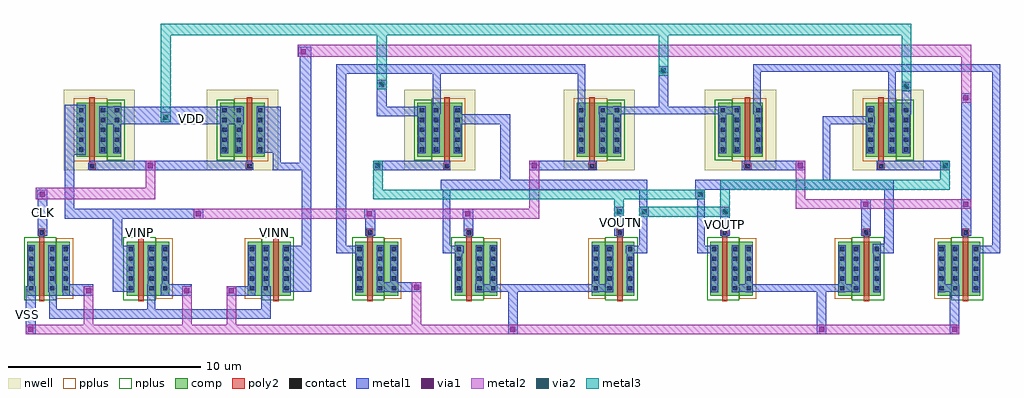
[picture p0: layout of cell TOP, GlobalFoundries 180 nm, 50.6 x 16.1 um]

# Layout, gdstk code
from math import pi, radians
import gdstk
lib = gdstk.Library(unit=1e-6, precision=5e-09)
def R(c, l, rs):  # rectangles x0, y0, x1, y1
    for r in rs: c.add(gdstk.rectangle(r[:2], r[2:], *l))
def A(c, l, x, y, w, h, nx, ny, dx, dy):  # array of equal rectangles
    R(c, l, [(x+i*dx, y+j*dy, x+i*dx+w, y+j*dy+h) for i in range(nx) for j in range(ny)])
nwell = (21, 0)
comp = (22, 0)
poly2 = (30, 0)
pplus = (31, 0)
nplus = (32, 0)
contact = (33, 0)
metal1 = (34, 0)
via1 = (35, 0)
metal2 = (36, 0)
via2 = (38, 0)
metal3 = (42, 0)

pfet = lib.new_cell('pfet')
R(pfet, nwell, [(-1.15,-0.69,2.54,3.49)])
R(pfet, comp, [(-0.46,0,0,2.8), (0,0,0.66,2.8), (0.66,0,1.12,2.8), (1.12,0,1.85,2.8)])
R(pfet, poly2, [(0.19,-0.3,0.47,3.1), (0.14,3.1,0.52,3.48)])
R(pfet, pplus, [(-0.63,-0.24,1.12,3.04)])
R(pfet, nplus, [(1.12,-0.17,2.02,2.97)])
A(pfet, contact, -0.34, 0.27, 0.22, 0.22, 1, 5, 0, 0.51)
A(pfet, contact, 0.78, 0.27, 0.22, 0.22, 1, 5, 0, 0.51)
A(pfet, contact, 1.51, 0.27, 0.22, 0.22, 1, 5, 0, 0.51)
R(pfet, contact, [(0.22,3.18,0.44,3.4)])
R(pfet, metal1, [(-0.42,0.19,-0.04,2.61), (0.7,0.19,1.08,2.61), (1.43,0.19,1.81,2.61), (0.14,3.1,0.52,3.48)])

nfet_1 = lib.new_cell('nfet$1')
R(nfet_1, comp, [(-0.42,0,0,2.8), (0,0,0.66,2.8), (0.66,0,1.08,2.8), (1.08,0,1.79,2.8)])
R(nfet_1, poly2, [(0.19,-0.3,0.47,3.1), (0.15,3.1,0.51,3.46)])
R(nfet_1, pplus, [(1.08,-0.17,1.96,2.97)])
R(nfet_1, nplus, [(-0.59,-0.24,1.08,3.04)])
A(nfet_1, contact, -0.32, 0.27, 0.22, 0.22, 1, 5, 0, 0.51)
A(nfet_1, contact, 0.76, 0.27, 0.22, 0.22, 1, 5, 0, 0.51)
A(nfet_1, contact, 1.47, 0.27, 0.22, 0.22, 1, 5, 0, 0.51)
R(nfet_1, contact, [(0.22,3.17,0.44,3.39)])
R(nfet_1, metal1, [(-0.4,0.19,-0.02,2.61), (0.68,0.19,1.06,2.61), (1.39,0.19,1.77,2.61), (0.14,3.09,0.52,3.47)])

via_dev = lib.new_cell('via_dev')
R(via_dev, metal1, [(0,0,0.5,0.5)])
R(via_dev, via1, [(0.12,0.12,0.38,0.38)])
R(via_dev, metal2, [(0,0,0.5,0.5)])

via_dev_1 = lib.new_cell('via_dev$1')
R(via_dev_1, metal1, [(0,0,0.5,0.5)])
R(via_dev_1, via1, [(0.12,0.12,0.38,0.38)])
R(via_dev_1, metal2, [(0,0,0.5,0.5)])
R(via_dev_1, via2, [(0.12,0.12,0.38,0.38)])
R(via_dev_1, metal3, [(0,0,0.5,0.5)])

top = lib.new_cell('TOP')
R(top, metal1, [(-9,-12,-8.5,-9.5), (16,-12,16.5,-9.4), (32,-12,32.5,-9.4), (38.9,-12,39.4,-9.4), (-7.8,-11.2,-7.4,-9.4), (-7.8,-11.2,3.7,-10.7), (-2.7,-11.2,-2.3,-9.4), (3.2,-11.2,3.7,-9.5), (-7.1,-10,-5.5,-9.4), (-2,-10,-0.4,-9.4), (1.4,-10,2.9,-9.5), (-4.5,-9.8,-3.4,-7.4), (4.4,-9.8,5.8,-7.4), (9.2,-9.8,11.5,-9.3), (14.3,-9.8,21.4,-9.4), (27.6,-9.8,34.2,-9.4), (38.3,-9.8,39.4,-9.4), (-4.5,-7.9,-4,-5.5), (5.3,-7.9,5.8,-3.1), (7.1,-7.8,7.6,2), (7.1,-7.8,8.5,-7.4), (12.6,-7.8,13.7,-7.4), (12.6,-7.8,13,-4), (22.1,-7.8,23.2,-7.4), (22.8,-7.8,23.2,-4), (25.8,-7.8,26.9,-7.4), (25.8,-7.8,26.2,-4), (34.9,-7.8,36,-7.3), (35.5,-7.8,36,-4), (40.1,-7.8,41.5,-7.4), (41.1,-7.8,41.5,2), (-8.4,-6.9,-7.9,-4.5), (8.6,-6.9,9.1,-5.5), (13.7,-6.9,14.2,-5.5), (21.5,-6.9,22,-5.4), (27,-6.9,27.5,-5.4), (34.3,-6.9,34.8,-5), (39.5,-6.9,40,0.5), (-7,-6,-6.5,-0.2), (-7,-6,-4,-5.5), (-4.5,-6,0.2,-5.5), (12.5,-4.5,23.2,-4), (15.6,-4.5,16.1,-0.6), (25.7,-4.5,36,-4), (32.3,-4.5,32.7,-0.7), (-5.7,-3.5,2.7,-3), (3.8,-3.5,4.2,-2.3), (3.8,-3.5,5.8,-3.1), (5.2,-3.5,5.8,2.9), (9,-3.5,13,-3), (17.1,-3.5,20.6,-3), (28.1,-3.5,31.4,-3), (35.1,-3.5,38.9,-3), (-7,-2.7,-5.9,-0.1), (3,-2.6,4.2,-0.2), (-5.2,-1.1,2.3,-0.2), (13.2,-1.1,16.1,-0.6), (32.3,-1.1,35,-0.7), (9.2,-0.7,9.7,1.2), (9.2,-0.7,11.7,-0.2), (19.6,-0.7,20,2), (12.1,-0.6,12.5,2), (20.7,-0.6,28,-0.2), (23.8,-0.6,24.3,1.9), (28.7,-0.6,29.1,2), (35.7,-0.6,36.1,2), (36.4,-0.6,36.9,1.1), (7.1,1.5,20,2), (28.7,1.6,41.5,2)])
R(top, metal2, [(-9,-12,39.4,-11.5), (-6,-12,-5.5,-9.5), (-0.9,-12,-0.4,-9.5), (1.4,-12,1.9,-9.5), (11,-12,11.5,-9.3), (-0.3,-6,17.6,-5.5), (17.1,-6,17.6,-3), (30.9,-5.5,31.4,-3), (30.9,-5.5,40,-5), (-8.5,-5,-2.5,-4.4), (-2.8,-5,-2.3,-3), (39.5,0,40,3), (5.1,2.4,40,3)])
R(top, metal3, [(21.5,-5.9,22,-4.5), (22.8,-5.9,27.4,-5.4), (27,-5.9,27.5,-4), (9,-5,22,-4.5), (9,-5,9.5,-3), (21.5,-5,26.2,-4.5), (27,-4.5,38.9,-4), (38.4,-4.5,38.9,-3), (-2,-1,-1.5,4.1), (36.4,0.6,36.9,3.9), (9.2,0.7,9.7,4.1), (23.8,1.4,24.3,4), (-2,3.5,36.9,4.1)])
r = gdstk.Reference(pfet, (2.92,0), rotation=pi); r.repetition = gdstk.Repetition(1, 1, v1=(0,0), v2=(0,0)); top.add(r)
r = gdstk.Reference(nfet_1, (-8.51,-10)); r.repetition = gdstk.Repetition(1, 1, v1=(0,0), v2=(0,0)); top.add(r)
r = gdstk.Reference(pfet, (-5.9,0), x_reflection=True); r.repetition = gdstk.Repetition(1, 1, v1=(0,0), v2=(0,0)); top.add(r)
r = gdstk.Reference(pfet, (28.74,0), rotation=pi); r.repetition = gdstk.Repetition(1, 1, v1=(0,0), v2=(0,0)); top.add(r)
r = gdstk.Reference(nfet_1, (4.3,-10), rotation=pi, x_reflection=True); r.repetition = gdstk.Repetition(1, 1, v1=(0,0), v2=(0,0)); top.add(r)
r = gdstk.Reference(nfet_1, (-3.36,-10)); r.repetition = gdstk.Repetition(1, 1, v1=(0,0), v2=(0,0)); top.add(r)
r = gdstk.Reference(via_dev, (-2.8,-3.5)); r.repetition = gdstk.Repetition(1, 1, v1=(0,0), v2=(0,0)); top.add(r)
r = gdstk.Reference(via_dev, (-8.41,-5)); r.repetition = gdstk.Repetition(1, 1, v1=(0,0), v2=(0,0)); top.add(r)
r = gdstk.Reference(via_dev, (-0.31,-6)); r.repetition = gdstk.Repetition(1, 1, v1=(0,0), v2=(0,0)); top.add(r)
r = gdstk.Reference(via_dev, (30.9,-3.5)); r.repetition = gdstk.Repetition(1, 1, v1=(0,0), v2=(0,0)); top.add(r)
r = gdstk.Reference(via_dev_1, (27,-5.9)); r.repetition = gdstk.Repetition(1, 1, v1=(0,0), v2=(0,0)); top.add(r)
r = gdstk.Reference(via_dev_1, (25.7,-5)); r.repetition = gdstk.Repetition(1, 1, v1=(0,0), v2=(0,0)); top.add(r)
r = gdstk.Reference(via_dev, (5.13,2.4)); r.repetition = gdstk.Repetition(1, 1, v1=(0,0), v2=(0,0)); top.add(r)
r = gdstk.Reference(via_dev_1, (9,-3.5)); r.repetition = gdstk.Repetition(1, 1, v1=(0,0), v2=(0,0)); top.add(r)
r = gdstk.Reference(via_dev, (13.65,-6)); r.repetition = gdstk.Repetition(1, 1, v1=(0,0), v2=(0,0)); top.add(r)
r = gdstk.Reference(via_dev, (8.55,-6)); r.repetition = gdstk.Repetition(1, 1, v1=(0,0), v2=(0,0)); top.add(r)
r = gdstk.Reference(nfet_1, (13.65,-10)); r.repetition = gdstk.Repetition(1, 1, v1=(0,0), v2=(0,0)); top.add(r)
r = gdstk.Reference(nfet_1, (8.5,-10)); r.repetition = gdstk.Repetition(1, 1, v1=(0,0), v2=(0,0)); top.add(r)
r = gdstk.Reference(pfet, (13.15,0), rotation=pi); r.repetition = gdstk.Repetition(1, 1, v1=(0,0), v2=(0,0)); top.add(r)
r = gdstk.Reference(pfet, (20.02,0), x_reflection=True); r.repetition = gdstk.Repetition(1, 1, v1=(0,0), v2=(0,0)); top.add(r)
r = gdstk.Reference(nfet_1, (22.12,-10), rotation=pi, x_reflection=True); r.repetition = gdstk.Repetition(1, 1, v1=(0,0), v2=(0,0)); top.add(r)
r = gdstk.Reference(via_dev, (17.1,-3.5)); r.repetition = gdstk.Repetition(1, 1, v1=(0,0), v2=(0,0)); top.add(r)
r = gdstk.Reference(via_dev_1, (22.8,-5.9)); r.repetition = gdstk.Repetition(1, 1, v1=(0,0), v2=(0,0)); top.add(r)
r = gdstk.Reference(pfet, (35.01,0), x_reflection=True); r.repetition = gdstk.Repetition(1, 1, v1=(0,0), v2=(0,0)); top.add(r)
r = gdstk.Reference(nfet_1, (34.9,-10), rotation=pi, x_reflection=True); r.repetition = gdstk.Repetition(1, 1, v1=(0,0), v2=(0,0)); top.add(r)
r = gdstk.Reference(nfet_1, (40.05,-10), rotation=pi, x_reflection=True); r.repetition = gdstk.Repetition(1, 1, v1=(0,0), v2=(0,0)); top.add(r)
r = gdstk.Reference(via_dev_1, (38.4,-3.5)); r.repetition = gdstk.Repetition(1, 1, v1=(0,0), v2=(0,0)); top.add(r)
r = gdstk.Reference(via_dev, (39.48,0)); r.repetition = gdstk.Repetition(1, 1, v1=(0,0), v2=(0,0)); top.add(r)
r = gdstk.Reference(via_dev, (34.28,-5.5)); r.repetition = gdstk.Repetition(1, 1, v1=(0,0), v2=(0,0)); top.add(r)
r = gdstk.Reference(via_dev, (39.48,-5.5)); r.repetition = gdstk.Repetition(1, 1, v1=(0,0), v2=(0,0)); top.add(r)
r = gdstk.Reference(via_dev_1, (-2,-1)); r.repetition = gdstk.Repetition(1, 1, v1=(0,0), v2=(0,0)); top.add(r)
r = gdstk.Reference(via_dev_1, (9.2,0.7)); r.repetition = gdstk.Repetition(1, 1, v1=(0,0), v2=(0,0)); top.add(r)
r = gdstk.Reference(via_dev_1, (23.8,1.4)); r.repetition = gdstk.Repetition(1, 1, v1=(0,0), v2=(0,0)); top.add(r)
r = gdstk.Reference(via_dev_1, (36.4,0.6)); r.repetition = gdstk.Repetition(1, 1, v1=(0,0), v2=(0,0)); top.add(r)
r = gdstk.Reference(via_dev, (-9,-12)); r.repetition = gdstk.Repetition(1, 1, v1=(0,0), v2=(0,0)); top.add(r)
r = gdstk.Reference(via_dev, (38.9,-12)); r.repetition = gdstk.Repetition(1, 1, v1=(0,0), v2=(0,0)); top.add(r)
r = gdstk.Reference(via_dev, (32,-12)); r.repetition = gdstk.Repetition(1, 1, v1=(0,0), v2=(0,0)); top.add(r)
r = gdstk.Reference(via_dev, (16,-12)); r.repetition = gdstk.Repetition(1, 1, v1=(0,0), v2=(0,0)); top.add(r)
r = gdstk.Reference(via_dev, (11,-9.8)); r.repetition = gdstk.Repetition(1, 1, v1=(0,0), v2=(0,0)); top.add(r)
r = gdstk.Reference(nfet_1, (26.9,-10)); r.repetition = gdstk.Repetition(1, 1, v1=(0,0), v2=(0,0)); top.add(r)
r = gdstk.Reference(via_dev_1, (21.5,-5.9)); r.repetition = gdstk.Repetition(1, 1, v1=(0,0), v2=(0,0)); top.add(r)
r = gdstk.Reference(via_dev, (-6,-10)); r.repetition = gdstk.Repetition(1, 1, v1=(0,0), v2=(0,0)); top.add(r)
r = gdstk.Reference(via_dev, (-0.9,-10)); r.repetition = gdstk.Repetition(1, 1, v1=(0,0), v2=(0,0)); top.add(r)
r = gdstk.Reference(via_dev, (1.4,-10)); r.repetition = gdstk.Repetition(1, 1, v1=(0,0), v2=(0,0)); top.add(r)
top.add(gdstk.Label('VDD', (-0.4,-0.8), layer=34, texttype=10))
top.add(gdstk.Label('CLK', (-8.1,-5.7), layer=34, texttype=10))
top.add(gdstk.Label('VOUTP', (27.2,-6.3), layer=34, texttype=10))
top.add(gdstk.Label('VOUTN', (21.8,-6.2), layer=34, texttype=10))
top.add(gdstk.Label('VINP', (-3.1,-6.7), layer=34, texttype=10))
top.add(gdstk.Label('VINN', (3.9,-6.7), layer=34, texttype=10))
top.add(gdstk.Label('VSS', (-8.9,-11), layer=34, texttype=10))

lib.write_gds('TOP.gds')
